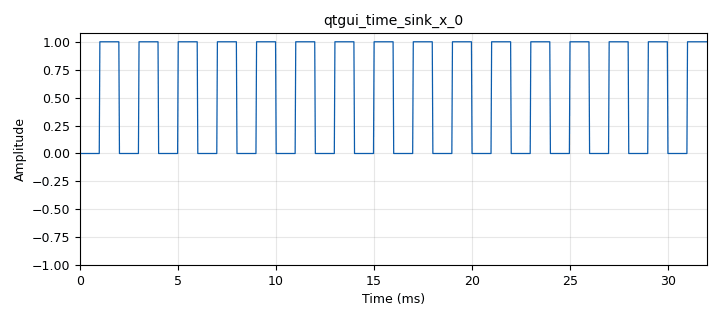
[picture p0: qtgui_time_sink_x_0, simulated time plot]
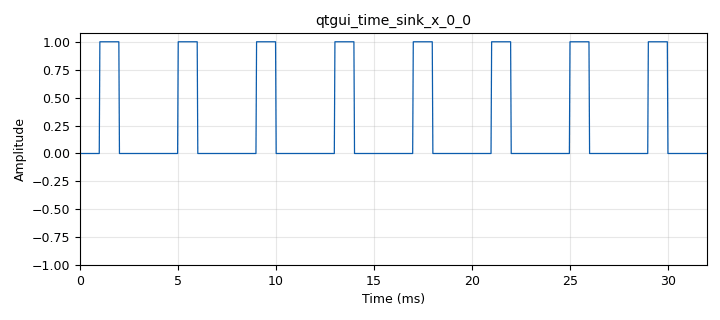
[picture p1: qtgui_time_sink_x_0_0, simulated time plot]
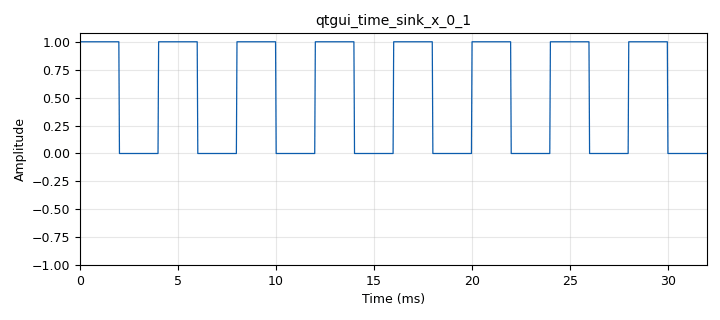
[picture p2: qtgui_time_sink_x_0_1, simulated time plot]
<?xml version='1.0' encoding='utf-8'?>
<?grc format='1' created='3.7.12'?>
<flow_graph>
<block>
<key>options</key>
<param><key>id</key><value>top_block</value></param>
<param><key>generate_options</key><value>qt_gui</value></param>
</block>
<block>
<key>variable_qtgui_range</key>
<param><key>id</key><value>a2</value></param>
<param><key>value</key><value>1</value></param>
<param><key>orient</key><value>Qt.Horizontal</value></param>
<param><key>start</key><value>0</value></param>
<param><key>step</key><value>0.1</value></param>
<param><key>stop</key><value>2</value></param>
</block>
<block>
<key>variable_qtgui_range</key>
<param><key>id</key><value>d</value></param>
<param><key>value</key><value>2</value></param>
<param><key>orient</key><value>Qt.Horizontal</value></param>
<param><key>start</key><value>0</value></param>
<param><key>step</key><value>10</value></param>
<param><key>stop</key><value>f0</value></param>
</block>
<block>
<key>variable_qtgui_range</key>
<param><key>id</key><value>f0</value></param>
<param><key>value</key><value>500</value></param>
<param><key>orient</key><value>Qt.Horizontal</value></param>
<param><key>start</key><value>0</value></param>
<param><key>step</key><value>1</value></param>
<param><key>stop</key><value>2000</value></param>
</block>
<block>
<key>variable</key>
<param><key>id</key><value>samp_rate</value></param>
<param><key>value</key><value>32000</value></param>
</block>
<block>
<key>analog_sig_source_x</key>
<param><key>id</key><value>analog_sig_source_x_0</value></param>
<param><key>amp</key><value>a2</value></param>
<param><key>freq</key><value>f0</value></param>
<param><key>offset</key><value>0</value></param>
<param><key>type</key><value>float</value></param>
<param><key>samp_rate</key><value>samp_rate</value></param>
<param><key>waveform</key><value>analog.GR_SQR_WAVE</value></param>
</block>
<block>
<key>analog_sig_source_x</key>
<param><key>id</key><value>analog_sig_source_x_0_0</value></param>
<param><key>amp</key><value>a2</value></param>
<param><key>freq</key><value>f0/d</value></param>
<param><key>offset</key><value>0</value></param>
<param><key>type</key><value>float</value></param>
<param><key>samp_rate</key><value>samp_rate</value></param>
<param><key>waveform</key><value>analog.GR_SQR_WAVE</value></param>
</block>
<block>
<key>blocks_multiply_xx</key>
<param><key>id</key><value>blocks_multiply_xx_0</value></param>
<param><key>type</key><value>float</value></param>
</block>
<block>
<key>blocks_throttle</key>
<param><key>id</key><value>blocks_throttle_0</value></param>
<param><key>samples_per_second</key><value>samp_rate</value></param>
<param><key>type</key><value>float</value></param>
</block>
<block>
<key>blocks_throttle</key>
<param><key>id</key><value>blocks_throttle_0_0</value></param>
<param><key>samples_per_second</key><value>samp_rate</value></param>
<param><key>type</key><value>float</value></param>
</block>
<block>
<key>qtgui_time_sink_x</key>
<param><key>id</key><value>qtgui_time_sink_x_0</value></param>
<param><key>color1</key><value>"blue"</value></param>
<param><key>label1</key><value></value></param>
<param><key>size</key><value>1024</value></param>
<param><key>srate</key><value>samp_rate</value></param>
<param><key>type</key><value>float</value></param>
</block>
<block>
<key>qtgui_time_sink_x</key>
<param><key>id</key><value>qtgui_time_sink_x_0_0</value></param>
<param><key>color1</key><value>"blue"</value></param>
<param><key>label1</key><value></value></param>
<param><key>size</key><value>1024</value></param>
<param><key>srate</key><value>samp_rate</value></param>
<param><key>type</key><value>float</value></param>
</block>
<block>
<key>qtgui_time_sink_x</key>
<param><key>id</key><value>qtgui_time_sink_x_0_1</value></param>
<param><key>color1</key><value>"blue"</value></param>
<param><key>label1</key><value></value></param>
<param><key>size</key><value>1024</value></param>
<param><key>srate</key><value>samp_rate</value></param>
<param><key>type</key><value>float</value></param>
</block>
<connection><source_block_id>analog_sig_source_x_0</source_block_id><sink_block_id>blocks_throttle_0</sink_block_id><source_key>0</source_key><sink_key>0</sink_key></connection>
<connection><source_block_id>analog_sig_source_x_0_0</source_block_id><sink_block_id>blocks_throttle_0_0</sink_block_id><source_key>0</source_key><sink_key>0</sink_key></connection>
<connection><source_block_id>blocks_multiply_xx_0</source_block_id><sink_block_id>qtgui_time_sink_x_0_0</sink_block_id><source_key>0</source_key><sink_key>0</sink_key></connection>
<connection><source_block_id>blocks_throttle_0</source_block_id><sink_block_id>blocks_multiply_xx_0</sink_block_id><source_key>0</source_key><sink_key>0</sink_key></connection>
<connection><source_block_id>blocks_throttle_0</source_block_id><sink_block_id>qtgui_time_sink_x_0</sink_block_id><source_key>0</source_key><sink_key>0</sink_key></connection>
<connection><source_block_id>blocks_throttle_0_0</source_block_id><sink_block_id>blocks_multiply_xx_0</sink_block_id><source_key>0</source_key><sink_key>1</sink_key></connection>
<connection><source_block_id>blocks_throttle_0_0</source_block_id><sink_block_id>qtgui_time_sink_x_0_1</sink_block_id><source_key>0</source_key><sink_key>0</sink_key></connection>
</flow_graph>
